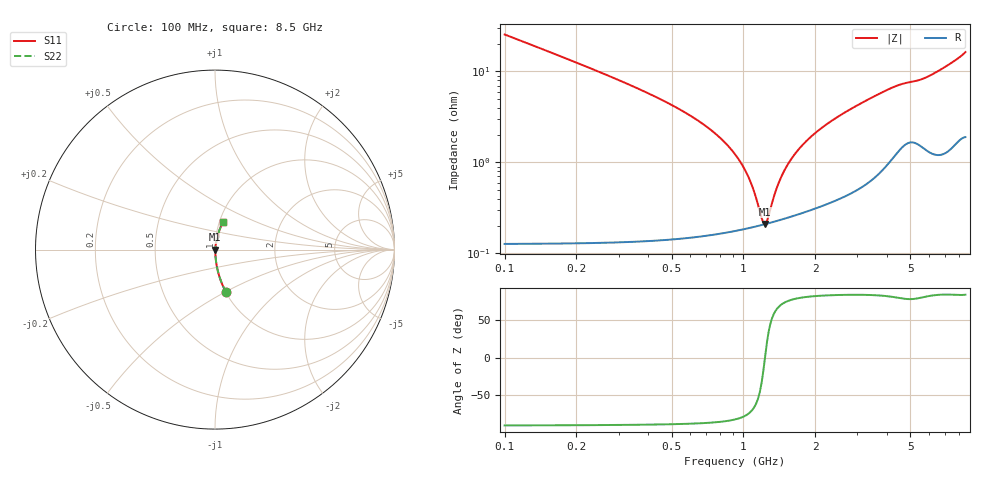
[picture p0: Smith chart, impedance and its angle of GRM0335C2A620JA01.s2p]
!Murata Part Number: GRM0335C2A620JA01
!These Parameters are Measured in Series Mode Connection
!Data Generated on Mar 30, 2021
!  o--ll--o
!Port1  Port2
!  o------o
!Operation Temp=25[degC], DC Bias Voltage=0[V]
!Freq. Start=100[MHz] Stop=9[GHz] 401[Steps]
# Hz S RI R 50
!Freq.(Hz) S11(Real) S11(Imag) S21(Real) S21(Imag) S12(Real) S12(Imag) S22(Real) S22(Imag)
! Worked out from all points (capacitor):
!   401 points, 100 MHz to 8.5 GHz, reference 50 ohm
!   read as one part in series: C = 62 pF near 142 MHz
!   lowest |Z| = 210 mohm at 1.234 GHz (marker M1)
!   series resonance near 1.231 GHz, so ESL is about 270 pH
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1e8  0.0621 -0.2389  0.9379 0.2389  0.9379 0.2389  0.0621 -0.2389
2.26e8  0.0131 -0.1081  0.9869 0.1081  0.9869 0.1081  0.0131 -0.1081
3.31e8  0.00645 -0.0713  0.9936 0.0713  0.9936 0.0713  0.00645 -0.0713
7.93e8  0.00199 -0.0188  0.998 0.0188  0.998 0.0188  0.00199 -0.0188
9.4e8  0.0019 -0.0113  0.9981 0.0113  0.9981 0.0113  0.0019 -0.0113
1.066e9  0.00194 -0.00596  0.9981 0.00596  0.9981 0.00596  0.00194 -0.00596
1.192e9  0.00204 -0.00132  0.998 0.00132  0.998 0.00132  0.00204 -0.00132
1.234e9  0.00209 0.000106  0.9979 -0.000106  0.9979 -0.000106  0.00209 0.000106
1.276e9  0.00214 0.00149  0.9979 -0.00149  0.9979 -0.00149  0.00214 0.00149
1.36e9  0.00225 0.00412  0.9977 -0.00412  0.9977 -0.00412  0.00225 0.00412
1.402e9  0.00232 0.00537  0.9977 -0.00537  0.9977 -0.00537  0.00232 0.00537
1.507e9  0.00249 0.00838  0.9975 -0.00838  0.9975 -0.00838  0.00249 0.00838
1.612e9  0.00268 0.0112  0.9973 -0.0112  0.9973 -0.0112  0.00268 0.0112
1.717e9  0.00289 0.0139  0.9971 -0.0139  0.9971 -0.0139  0.00289 0.0139
2.011e9  0.00355 0.0209  0.9964 -0.0209  0.9964 -0.0209  0.00355 0.0209
2.41e9  0.00462 0.0296  0.9954 -0.0296  0.9954 -0.0296  0.00462 0.0296
2.914e9  0.00634 0.0399  0.9937 -0.0399  0.9937 -0.0399  0.00634 0.0399
3.586e9  0.00976 0.053  0.9902 -0.053  0.9902 -0.053  0.00976 0.053
4.3e9  0.016 0.0653  0.984 -0.0653  0.984 -0.0653  0.016 0.0653
5.707e9  0.0205 0.08  0.9795 -0.08  0.9795 -0.08  0.0205 0.08
7.114e9  0.0253 0.1104  0.9747 -0.1104  0.9747 -0.1104  0.0253 0.1104
8.5e9  0.0429 0.1524  0.9571 -0.1524  0.9571 -0.1524  0.0429 0.1524
